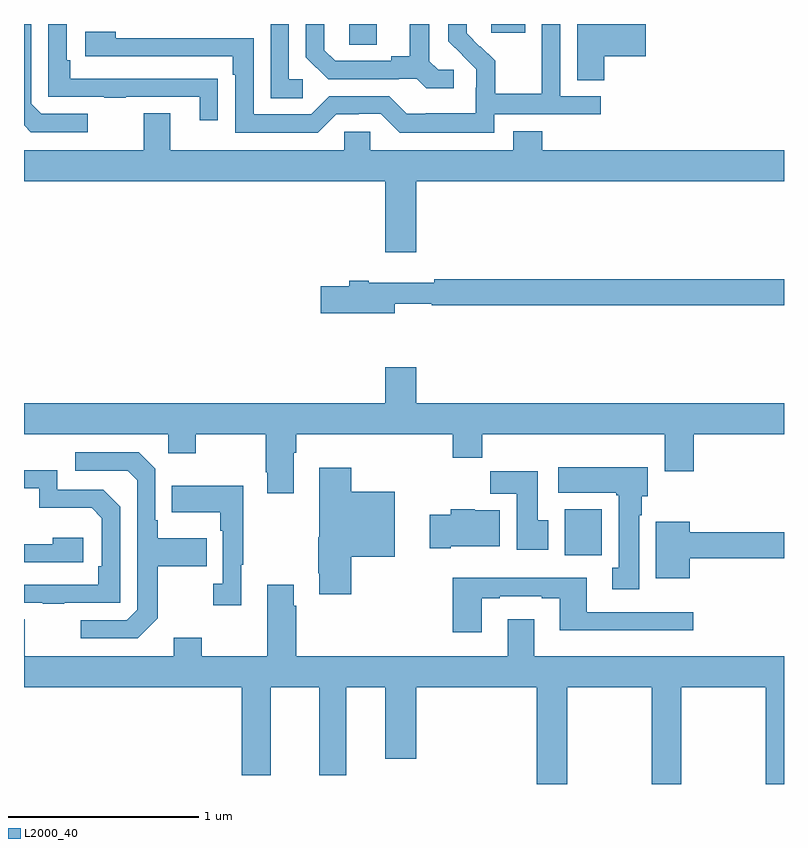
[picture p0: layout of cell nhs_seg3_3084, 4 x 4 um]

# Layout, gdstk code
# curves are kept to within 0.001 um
import gdstk
lib = gdstk.Library(unit=1e-6, precision=1e-09)
def R(c, l, rs):  # rectangles x0, y0, x1, y1
    for r in rs: c.add(gdstk.rectangle(r[:2], r[2:], *l))
def P(c, l, *ps):  # polygons
    for p in ps: c.add(gdstk.Polygon(p, *l))
L2000_40 = (2000, 40)

nhs_seg3_3084 = lib.new_cell('nhs_seg3_3084')
R(nhs_seg3_3084, L2000_40, [(273.845,709.604,274.042,709.846), (272.712,712.291,272.857,712.4), (273.458,712.353,273.637,712.4)])
P(nhs_seg3_3084, L2000_40, [(273.474,711.924),(274.036,711.924),(274.036,712.02),(273.822,712.02),(273.822,712.4),(273.726,712.4),(273.726,712.256),(273.724,712.256),(273.724,712.033),(273.479,712.033),(273.479,712.207),(273.402,712.284),(273.399,712.281),(273.329,712.352),(273.329,712.4),(273.234,712.4),(273.234,712.31),(273.38,712.162),(273.38,712.065),(273.378,712.065),(273.378,711.931),(273.115,711.931),(273.115,711.927),(273.015,711.927),(272.922,712.02),(272.607,712.02),(272.511,711.924),(272.208,711.924),(272.208,712.326),(271.484,712.326),(271.484,712.36),(271.323,712.36),(271.323,712.23),(272.099,712.23),(272.099,712.133),(272.112,712.133),(272.112,711.828),(272.547,711.828),(272.643,711.924),(272.762,711.924),(272.762,711.927),(272.877,711.927),(272.977,711.827),(273.474,711.827)],
  [(274.055,712.229),(274.273,712.229),(274.273,712.4),(273.911,712.4),(273.911,712.105),(274.055,712.105)],
  [(272.467,712.11),(272.394,712.11),(272.394,712.4),(272.298,712.4),(272.298,712.009),(272.467,712.009)],
  [(272.021,712.112),(271.919,712.112),(271.919,712.113),(271.244,712.113),(271.244,712.21),(271.224,712.21),(271.224,712.4),(271.128,712.4),(271.128,712.017),(271.423,712.017),(271.423,712.012),(271.535,712.012),(271.535,712.017),(271.925,712.017),(271.925,711.894),(272.021,711.894)],
  [(271.336,711.927),(271.092,711.927),(271.038,711.981),(271.038,712.4),(271,712.4),(271,711.866),(271.035,711.831),(271.336,711.831)],
  [(273.262,712.158),(273.18,712.158),(273.133,712.205),(273.133,712.4),(273.029,712.4),(273.029,712.229),(272.933,712.229),(272.933,712.206),(272.638,712.206),(272.581,712.263),(272.581,712.4),(272.484,712.4),(272.484,712.226),(272.6,712.11),(272.972,712.11),(272.972,712.113),(273.066,712.113),(273.118,712.061),(273.262,712.061)],
  [(273.064,711.572),(275,711.572),(275,711.736),(273.728,711.736),(273.728,711.835),(273.575,711.835),(273.575,711.736),(272.823,711.736),(272.823,711.834),(272.685,711.834),(272.685,711.736),(271.771,711.736),(271.771,711.931),(271.631,711.931),(271.631,711.736),(271,711.736),(271,711.572),(272.9,711.572),(272.9,711.198),(273.064,711.198)],
  [(272.95,710.928),(273.146,710.928),(273.146,710.92),(275,710.92),(275,711.056),(273.16,711.056),(273.16,711.037),(272.815,711.037),(272.815,711.05),(272.711,711.05),(272.711,711.02),(272.562,711.02),(272.562,710.878),(272.95,710.878)],
  [(272.419,710.144),(272.432,710.144),(272.432,710.24),(273.257,710.24),(273.257,710.116),(273.413,710.116),(273.413,710.24),(274.373,710.24),(274.373,710.046),(274.526,710.046),(274.526,710.24),(275,710.24),(275,710.404),(273.064,710.404),(273.064,710.593),(272.9,710.593),(272.9,710.404),(271,710.404),(271,710.24),(271.758,710.24),(271.758,710.141),(271.905,710.141),(271.905,710.24),(272.272,710.24),(272.272,710.041),(272.279,710.041),(272.279,709.929),(272.419,709.929)],
  [(271.705,709.273),(271.705,709.546),(271.961,709.546),(271.961,709.693),(271.705,709.693),(271.705,709.789),(271.692,709.789),(271.692,710.058),(271.605,710.145),(271.269,710.145),(271.269,710.049),(271.545,710.049),(271.596,709.998),(271.596,709.317),(271.542,709.263),(271.299,709.263),(271.299,709.167),(271.599,709.167)],
  [(274.237,709.814),(274.252,709.814),(274.252,709.914),(274.282,709.914),(274.282,710.068),(273.813,710.068),(273.813,709.934),(274.117,709.934),(274.117,709.921),(274.13,709.921),(274.13,709.538),(274.097,709.538),(274.097,709.425),(274.237,709.425)],
  [(272.723,709.595),(272.95,709.595),(272.95,709.939),(272.723,709.939),(272.723,710.065),(272.555,710.065),(272.555,709.699),(272.548,709.699),(272.548,709.51),(272.555,709.51),(272.555,709.398),(272.723,709.398)],
  [(271.211,709.353),(271.506,709.353),(271.506,709.86),(271.416,709.95),(271.176,709.95),(271.176,710.052),(271,710.052),(271,709.956),(271.08,709.956),(271.08,709.853),(271.357,709.853),(271.41,709.8),(271.41,709.546),(271.39,709.546),(271.39,709.449),(271,709.449),(271,709.353),(271.099,709.353),(271.099,709.348),(271.211,709.348)],
  [(273.76,709.788),(273.703,709.788),(273.703,710.047),(273.454,710.047),(273.454,709.928),(273.593,709.928),(273.593,709.632),(273.76,709.632)],
  [(272.143,709.553),(272.155,709.553),(272.155,709.969),(271.777,709.969),(271.777,709.829),(272.034,709.829),(272.034,709.733),(272.046,709.733),(272.046,709.454),(271.995,709.454),(271.995,709.341),(272.143,709.341)],
  [(273.247,709.652),(273.505,709.652),(273.505,709.84),(273.372,709.84),(273.372,709.846),(273.247,709.846),(273.247,709.818),(273.135,709.818),(273.135,709.64),(273.247,709.64)],
  [(274.504,709.588),(275,709.588),(275,709.724),(274.504,709.724),(274.504,709.78),(274.325,709.78),(274.325,709.484),(274.504,709.484)],
  [(271.312,709.696),(271.151,709.696),(271.151,709.662),(271,709.662),(271,709.566),(271.312,709.566)],
  [(273.409,709.377),(273.505,709.377),(273.505,709.389),(273.725,709.389),(273.725,709.377),(273.821,709.377),(273.821,709.208),(274.522,709.208),(274.522,709.305),(273.961,709.305),(273.961,709.486),(273.257,709.486),(273.257,709.2),(273.409,709.2)],
  [(273.858,708.908),(274.303,708.908),(274.303,708.4),(274.458,708.4),(274.458,708.908),(274.903,708.908),(274.903,708.4),(275,708.4),(275,709.072),(273.685,709.072),(273.685,709.267),(273.545,709.267),(273.545,709.072),(272.432,709.072),(272.432,709.337),(272.419,709.337),(272.419,709.45),(272.279,709.45),(272.279,709.072),(271.935,709.072),(271.935,709.171),(271.787,709.171),(271.787,709.072),(271.003,709.072),(271.003,709.267),(271,709.267),(271,708.908),(272.147,708.908),(272.147,708.447),(272.299,708.447),(272.299,708.908),(272.555,708.908),(272.555,708.447),(272.695,708.447),(272.695,708.908),(272.9,708.908),(272.9,708.534),(273.064,708.534),(273.064,708.908),(273.698,708.908),(273.698,708.4),(273.858,708.4)])

lib.write_gds('nhs_seg3_3084.gds')
